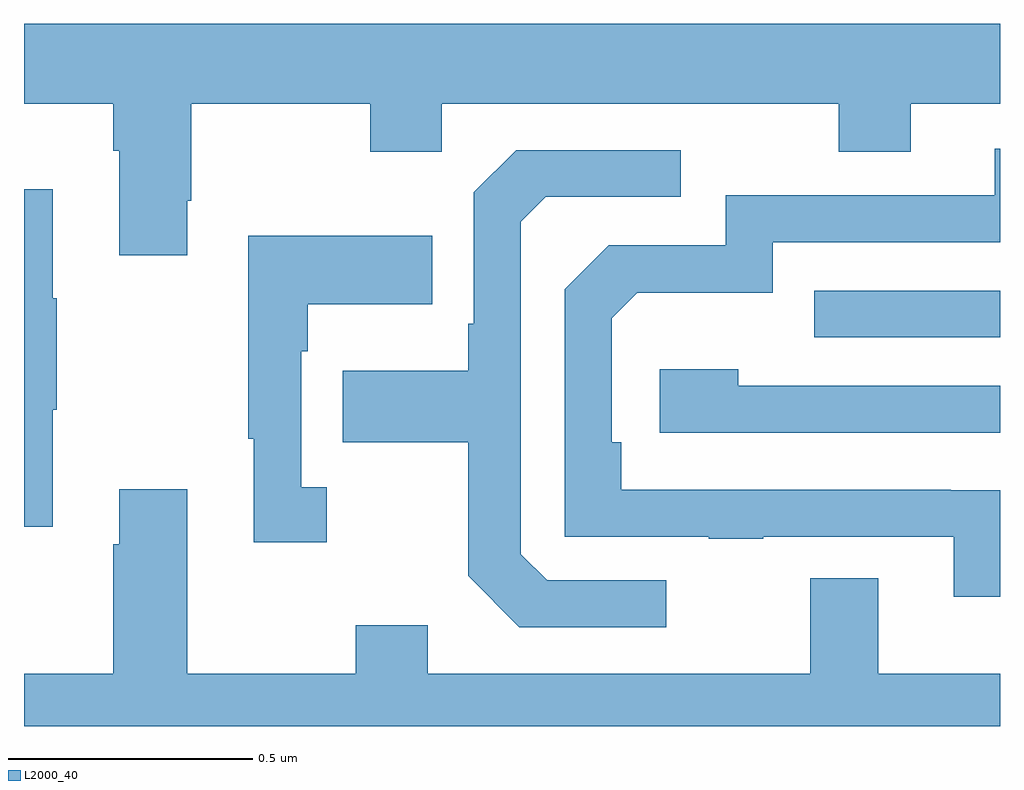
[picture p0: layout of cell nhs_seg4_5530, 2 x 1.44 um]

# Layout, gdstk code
import gdstk
lib = gdstk.Library(unit=1e-6, precision=1e-09)
def R(c, l, rs):  # rectangles x0, y0, x1, y1
    for r in rs: c.add(gdstk.rectangle(r[:2], r[2:], *l))
def P(c, l, *ps):  # polygons
    for p in ps: c.add(gdstk.Polygon(p, *l))
L2000_40 = (2000, 40)

nhs_seg4_5530 = lib.new_cell('nhs_seg4_5530')
R(nhs_seg4_5530, L2000_40, [(180.619,773.697,181,773.793)])
P(nhs_seg4_5530, L2000_40, [(179.335,773.977),(179.343,773.977),(179.343,774.176),(179.71,774.176),(179.71,774.077),(179.856,774.077),(179.856,774.176),(180.67,774.176),(180.67,774.077),(180.817,774.077),(180.817,774.176),(181,774.176),(181,774.34),(179,774.34),(179,774.176),(179.183,774.176),(179.183,774.08),(179.195,774.08),(179.195,773.865),(179.335,773.865)],
  [(181,773.384),(180.899,773.384),(180.899,773.385),(180.224,773.385),(180.224,773.482),(180.204,773.482),(180.204,773.736),(180.257,773.789),(180.534,773.789),(180.534,773.892),(181,773.892),(181,774.084),(180.989,774.084),(180.989,773.988),(180.438,773.988),(180.438,773.886),(180.198,773.886),(180.108,773.796),(180.108,773.289),(180.403,773.289),(180.403,773.284),(180.515,773.284),(180.515,773.289),(180.905,773.289),(180.905,773.166),(181,773.166)],
  [(180.316,773.199),(180.072,773.199),(180.018,773.253),(180.018,773.934),(180.069,773.985),(180.346,773.985),(180.346,774.081),(180.009,774.081),(179.922,773.994),(179.922,773.725),(179.91,773.725),(179.91,773.629),(179.653,773.629),(179.653,773.482),(179.91,773.482),(179.91,773.209),(180.015,773.103),(180.316,773.103)],
  [(179.059,773.549),(179.067,773.549),(179.067,773.777),(179.059,773.777),(179.059,774.001),(179,774.001),(179,773.309),(179.059,773.309)],
  [(179.62,773.39),(179.568,773.39),(179.568,773.669),(179.581,773.669),(179.581,773.765),(179.837,773.765),(179.837,773.905),(179.46,773.905),(179.46,773.489),(179.471,773.489),(179.471,773.277),(179.62,773.277)],
  [(181,773.598),(180.464,773.598),(180.464,773.632),(180.303,773.632),(180.303,773.502),(181,773.502)],
  [(181,773.008),(180.751,773.008),(180.751,773.203),(180.611,773.203),(180.611,773.008),(179.827,773.008),(179.827,773.107),(179.68,773.107),(179.68,773.008),(179.335,773.008),(179.335,773.386),(179.195,773.386),(179.195,773.273),(179.183,773.273),(179.183,773.008),(179,773.008),(179,772.9),(181,772.9)])

lib.write_gds('nhs_seg4_5530.gds')
